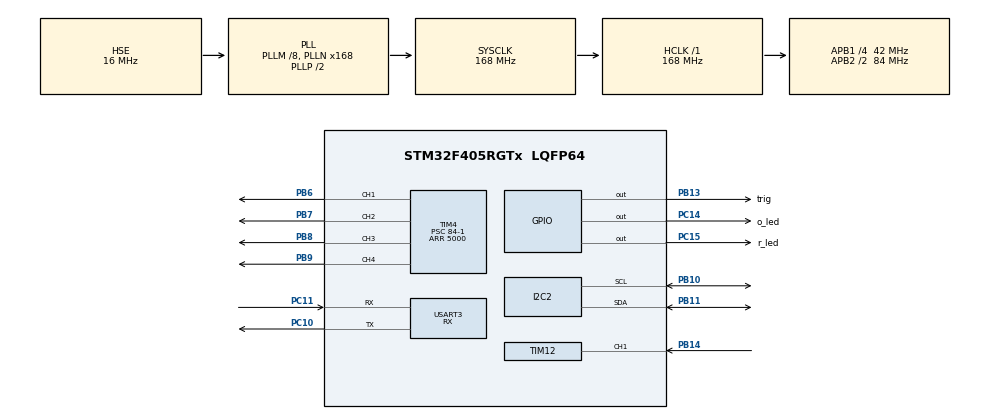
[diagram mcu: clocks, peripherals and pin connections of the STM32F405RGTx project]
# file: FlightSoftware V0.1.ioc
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Mcu.Family=STM32F4
PH0-OSC_IN.Signal=RCC_OSC_IN
Dma.USART3_RX.0.PeriphInc=DMA_PINC_DISABLE
RCC.CortexFreq_Value=168000000
PB10.Mode=I2C
TIM12.ICPolarity_CH1=TIM_INPUTCHANNELPOLARITY_BOTHEDGE
PC10.Signal=USART3_TX
PB13.GPIO_Label=trig
PB11.Signal=I2C2_SDA
PB13.Signal=GPIO_Output
PC15-OSC32_OUT.GPIO_Label=r_led
RCC.SYSCLKSource=RCC_SYSCLKSOURCE_PLLCLK
ProjectManager.StackSize=0x400
TIM1.Prescaler=168-1
RCC.HCLKFreq_Value=168000000
RCC.APB2TimFreq_Value=168000000
PB6.Signal=S_TIM4_CH1
RCC.AHBFreq_Value=168000000
PH0-OSC_IN.Mode=HSE-External-Oscillator
RCC.HSE_VALUE=16000000
TIM4.Channel-PWM\ Generation3\ CH3=TIM_CHANNEL_3
Dma.USART3_RX.0.MemDataAlignment=DMA_MDATAALIGN_BYTE
PB3.Mode=Trace_Asynchronous_SW
SH.S_TIM12_CH1.0=TIM12_CH1,Input_Capture1_from_TI1
PA14.Mode=Trace_Asynchronous_SW
Dma.USART3_RX.0.PeriphDataAlignment=DMA_PDATAALIGN_BYTE
SH.S_TIM4_CH2.0=TIM4_CH2,PWM Generation2 CH2
PB7.Signal=S_TIM4_CH2
Dma.USART3_RX.0.FIFOMode=DMA_FIFOMODE_DISABLE
VP_TIM12_VS_ClockSourceINT.Mode=Internal
TIM4.Period=5000
VP_TIM1_VS_ClockSourceINT.Mode=Internal
PH1-OSC_OUT.Mode=HSE-External-Oscillator
Dma.USART3_RX.0.Direction=DMA_PERIPH_TO_MEMORY
TIM2.Prescaler=84-1
PB9.Signal=S_TIM4_CH4
Mcu.Package=LQFP64
PC11.Mode=Asynchronous
Dma.USART3_RX.0.MemInc=DMA_MINC_ENABLE
RCC.APB2CLKDivider=RCC_HCLK_DIV2
SH.S_TIM4_CH1.0=TIM4_CH1,PWM Generation1 CH1
RCC.APB1TimFreq_Value=84000000
PC14-OSC32_IN.GPIO_Label=o_led
TIM4.Channel-PWM\ Generation4\ CH4=TIM_CHANNEL_4
Dma.Request0=USART3_RX
I2C2.I2C_Mode=I2C_Fast
Dma.USART3_RX.0.Instance=DMA1_Stream1
RCC.PLLSourceVirtual=RCC_PLLSOURCE_HSE
TIM4.Channel-PWM\ Generation1\ CH1=TIM_CHANNEL_1
SH.S_TIM4_CH4.0=TIM4_CH4,PWM Generation4 CH4
PC11.Signal=USART3_RX
PC10.Mode=Asynchronous
NVIC.DMA1_Stream1_IRQn=true\:0\:0\:false\:false\:true\:false\:true
RCC.APB1CLKDivider=RCC_HCLK_DIV4
PC14-OSC32_IN.Signal=GPIO_Output
Dma.USART3_RX.0.Mode=DMA_CIRCULAR
PA13.Signal=SYS_JTMS-SWDIO
PB11.Mode=I2C
ProjectManager.TargetToolchain=STM32CubeIDE
NVIC.TIM8_BRK_TIM12_IRQn=true\:0\:0\:false\:false\:true\:true\:true
SH.S_TIM4_CH3.0=TIM4_CH3,PWM Generation3 CH3
TIM4.Prescaler=84-1
RCC.LSE_VALUE=32768
PC15-OSC32_OUT.Signal=GPIO_Output
PB10.Signal=I2C2_SCL
TIM12.Prescaler=84-1
PB14.Signal=S_TIM12_CH1
board=custom
RCC.VCOOutputFreq_Value=336000000
TIM4.Channel-PWM\ Generation2\ CH2=TIM_CHANNEL_2
RCC.APB2Freq_Value=84000000
VP_TIM2_VS_ClockSourceINT.Mode=Internal
PH1-OSC_OUT.Signal=RCC_OSC_OUT
PA13.Mode=Trace_Asynchronous_SW
Mcu.Name=STM32F405RGTx
RCC.48MHZClocksFreq_Value=84000000
PB3.Signal=SYS_JTDO-SWO
RCC.SYSCLKFreq_VALUE=168000000
TIM12.Channel-Input_Capture1_from_TI1=TIM_CHANNEL_1
Dma.USART3_RX.0.Priority=DMA_PRIORITY_LOW
USART3.Mode=MODE_RX
USART3.VirtualMode=VM_ASYNC
PA14.Signal=SYS_JTCK-SWCLK
ProjectManager.HeapSize=0x200
RCC.HSI_VALUE=16000000
VP_TIM4_VS_ClockSourceINT.Mode=Internal
NVIC.PriorityGroup=NVIC_PRIORITYGROUP_4
RCC.PLLM=8
RCC.PLLN=168
PB8.Signal=S_TIM4_CH3
RCC.APB1Freq_Value=42000000

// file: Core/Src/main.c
/* USER CODE BEGIN Header */
/**
  ******************************************************************************
  * @file           : main.c
  * @brief          : Main program body
  ******************************************************************************
  * @attention
  *
  * <h2><center>&copy; Copyright (c) 2021 STMicroelectronics.
  * All rights reserved.</center></h2>
  *
  * This software component is licensed by ST under BSD 3-Clause license,
  * the "License"; You may not use this file except in compliance with the
  * License. You may obtain a copy of the License at:
  *                        opensource.org/licenses/BSD-3-Clause
  *
  ******************************************************************************
  */
/* USER CODE END Header */
#include "main.h"

/* USER CODE BEGIN Includes */
#include "math.h"

/* USER CODE END Includes */

I2C_HandleTypeDef hi2c2;

TIM_HandleTypeDef htim1;
TIM_HandleTypeDef htim2;
TIM_HandleTypeDef htim4;
TIM_HandleTypeDef htim12;

UART_HandleTypeDef huart3;
DMA_HandleTypeDef hdma_usart3_rx;

/* USER CODE BEGIN PV */
// RC Receiver Channels
// Array to store all Channels
int16_t channel[10];
// Channel[0] = Roll
// Channel[1] = Pitch
// Channel[2] = Throttle
// Channel[3] = Yaw
// Channel[4] = Arm Switch
// Channel[5] = Mode Switch

// PID Variables
float max_rotate = 200;
//X - Pitch | Y - Roll | Z - Yaw
// Roll
float pid_p_roll = 1;
float pid_i_roll = 0;
float pid_d_roll = 10;
float pid_gy_roll = 0, pid_setpoint_roll = 0, pid_output_roll = 0, pid_prev_err_roll = 0, pid_integ_roll = 0;
float roll_al = 0; // autolevel for roll
// Pitch
// uses same PID values as roll
float pid_gy_pitch = 0, pid_setpoint_pitch = 0, pid_output_pitch = 0, pid_prev_err_pitch = 0, pid_integ_pitch = 0;
float pitch_al = 0; // autolevel for pitch
// Yaw
float pid_p_yaw = 1;
float pid_i_yaw = 0.01;
float pid_d_yaw = 0;
float pid_gy_yaw = 0, pid_setpoint_yaw = 0, pid_output_yaw = 0, pid_prev_err_yaw = 0, pid_integ_yaw = 0;

uint16_t arm = 0;

uint16_t esc_1, esc_2, esc_3, esc_4;
uint16_t motor_idle = 1100;

// HC-SR04 Variables
uint16_t echo_edge_1 = 0;
uint16_t echo_edge_2 = 0;
float height = 0;
uint8_t capture_num = 0;
// speed of sound in cm / uS divided by 2 as we get round trip distance
const float time_to_dist = 0.0343/2;

enum flight_states{
	error,
	idle,
	arming,
	rate_mode,
	auto_level,
	altitude_hold
};

enum flight_states flight_state = idle;

// Flags
// Flag to show both edges of the HC-SR04 echo have been measured
uint8_t sr_rdy_flg = 0;
// Safety Flags
uint8_t fault_flag = 0;

/* USER CODE END PV */

void SystemClock_Config(void);
static void MX_GPIO_Init(void);
static void MX_DMA_Init(void);
static void MX_I2C2_Init(void);
static void MX_TIM1_Init(void);
static void MX_USART3_UART_Init(void);
static void MX_TIM4_Init(void);
static void MX_TIM12_Init(void);
static void MX_TIM2_Init(void);
/* USER CODE BEGIN PFP */
float ABS(float x);

HAL_StatusTypeDef ICM20689_Read(uint8_t address, float *acc_x, float *acc_y, float *acc_z, float *temp,
								float *gy_x, float *gy_y, float *gy_z, float gy_cal_x, float gy_cal_y,
								float gy_cal_z, float acc_cal_x, float acc_cal_y, float acc_cal_z);

HAL_StatusTypeDef ICM20689_Config(uint8_t address, float *gy_cal_x, float *gy_cal_y, float *gy_cal_z, float *acc_cal_x, float *acc_cal_y, float *acc_cal_z);

void Update_Motors();

void Calculate_PIDs();

void Calculate_SetPoints();

void HC_SR04_Read();

void uSec_Delay(uint32_t uSec);

void Check_Faults();
//void Calculate_Angles(float acc_x, float acc_y, float acc_z, float gy_x, float gy_y, float gy_z, float *roll, float *pitch, float *yaw)
//{
//	//Function variables
//	// gyroscope and accelerometer temporary angles
//
//	// initalisation counter
//	uint8_t count = 0;
//
//
//	if (count == 0){
//		count++;
//		gy_roll = 0, gy_pitch = 0, gy_yaw = 0;
//		acc_roll = 0, acc_pitch = 0, acc_yaw = 0;
//		pid_gy_roll = 0, pid_gy_pitch = 0, pid_gy_yaw = 0;
//	}
//
//
//
//
//	// transform pitch and roll depending on yaw value
//
//	//Calculate the traveled angles from the accelerometer
//
//	//Complementary filter on angles to correct gyroscope drift
//
//
//}
/* USER CODE END PFP */

int main(void)
{

  /* MCU Configuration--------------------------------------------------------*/

  /* Reset of all peripherals, Initializes the Flash interface and the Systick. */
  HAL_Init();

  /* Configure the system clock */
  SystemClock_Config();

  /* Initialize all configured peripherals */
  MX_GPIO_Init();
  MX_DMA_Init();
  MX_I2C2_Init();
  MX_TIM1_Init();
  MX_USART3_UART_Init();
  MX_TIM4_Init();
  MX_TIM12_Init();
  MX_TIM2_Init();
  /* USER CODE BEGIN 2 */

  // ICM20689 variables
	const uint8_t icm20689_address = 0x68;
	float acc_x, acc_y, acc_z;
	float temp;
	float gy_x, gy_y, gy_z;
	// Calibration variables
	float gy_cal_x = 0, gy_cal_y = 0, gy_cal_z = 0;
	float acc_cal_x = 0, acc_cal_y = 0, acc_cal_z = 0;
	// Angle Variables
	//X - Pitch | Y - Roll | Z - Yaw
	float pitch = 0, roll = 0, yaw = 0;
	float pitch_t = 0, roll_t = 0, yaw_t = 0;
	float gy_roll = 0, gy_pitch = 0, gy_yaw = 0;
	float acc_roll = 0, acc_pitch = 0, acc_yaw = 0;
	float acc_tot_vect = 0;

	// MS5611
	const uint8_t ms5611_address = 0x77;

	uint16_t looptimmer = 0;
	uint8_t error_counter = 0;
	uint8_t armed = 0;

	uint32_t loopcounter = 0;

	//UART DMA variables
	uint8_t rx_buff[32] = {0};

	// Start DMA UART RX
	HAL_StatusTypeDef uart_status;
	uart_status = HAL_UART_Receive_DMA(&huart3, rx_buff, 32);
	// Check for errors in starting the UART

  HAL_Delay(1000); // Wait for the icm20689 to initialise
  while(rx_buff[0] != 0x20){
	  HAL_GPIO_TogglePin(GPIOC, r_led_Pin);
	  HAL_Delay(500);
  }
  ICM20689_Config(icm20689_address, &gy_cal_x, &gy_cal_y, &gy_cal_z, &acc_cal_x, &acc_cal_y, &acc_cal_z); // configure ICM power register and calibrate the gyroscope

  HAL_TIM_PWM_Start(&htim4, TIM_CHANNEL_1);
  HAL_TIM_PWM_Start(&htim4, TIM_CHANNEL_2);
  HAL_TIM_PWM_Start(&htim4, TIM_CHANNEL_3);
  HAL_TIM_PWM_Start(&htim4, TIM_CHANNEL_4);

  // Reset both status lights
  HAL_GPIO_WritePin(GPIOC, o_led_Pin, RESET);
  HAL_GPIO_WritePin(GPIOC, r_led_Pin, RESET);

  /* USER CODE END 2 */

  /* Infinite loop */
  /* USER CODE BEGIN WHILE */
  // Loop timer setup
    TIM1->CR1 |= 1<<0;
    while (!(TIM1->SR & 1<<0));
    TIM1->CNT = 0;

  while (1)
  {
    /* USER CODE END WHILE */

    /* USER CODE BEGIN 3 */

	  // Increment loop counter
	  loopcounter ++;

	  ICM20689_Read(icm20689_address, &acc_x, &acc_y, &acc_z, &temp, &gy_x, &gy_y, &gy_z, gy_cal_x, gy_cal_y, gy_cal_z, acc_cal_x, acc_cal_y, acc_cal_z);

	  //Complementary filter applied to gyroscope values
	  pid_gy_roll = (pid_gy_roll*0.7) + (gy_y *0.3);
	  pid_gy_pitch = (pid_gy_pitch*0.7) + (gy_x *0.3);
	  pid_gy_yaw = (pid_gy_yaw*0.7) + (gy_z *0.3);

	  //Calculate the travelled angles from the gyroscope
	  //loop every 1 / 250hz = 0.004
      roll = roll + (gy_y / 250);
	  pitch = pitch + (gy_x / 250);
	  gy_yaw = gy_yaw + (gy_z / 250);

	  //need to rotate pitch and roll by the sin of yaw
	  roll += (pitch * (sin(gy_z * 0.00006981)));
	  pitch -= roll * (sin(gy_z * 0.00006981));

	  // Calculate acceleration vectors
	  acc_tot_vect = sqrt((acc_x*acc_x)+(acc_y*acc_y)+(acc_z*acc_z));
	  if (ABS(acc_y) < acc_tot_vect){
		  acc_pitch = asin(acc_y/acc_tot_vect) * 57.288;
	  }
	  if (ABS(acc_x) < acc_tot_vect){
	  		  acc_roll = asin(acc_x/acc_tot_vect) * -57.288; // negative to ensure left wing up is +roll
	  	  }

	  roll = (roll*0.9995) + (acc_roll*0.0005);
	  pitch = (pitch*0.99955) + (acc_pitch*0.0005);
	  yaw = gy_yaw;

	  roll_al = roll * 3;
	  pitch_al = pitch * 3;

	 // HC_SR04_Read();

	  Calculate_SetPoints();
	  Calculate_PIDs();

	  // function to read in values stored in the ESP32 UART DMA

	  //  Function to check fault flags
	  //Check_Faults();

	  // check to see if arm switch is disarmed
	  if (channel[4] < 1500 || channel[4] == 0){
		  flight_state = idle;
		  armed = 0;
	  }

	  // State machine for the drone switch case
	  switch (flight_state){
	  case(idle):
			// Ensure motors are not running
			TIM4->CCR1 = 0;
			TIM4->CCR2 = 0;
			TIM4->CCR3 = 0;
			TIM4->CCR4 = 0;
			// Wait for receiver connection
			if (rx_buff[0] == 0x20 & armed == 0 & (channel[4] > 1500) & (channel[2] < 1030)){
				flight_state = arming;
			}
			// need to check this is the right channel
			else if (channel[5] > 1600 & armed == 1 & channel[4] > 1500){
				 flight_state = rate_mode;
			 }
	  	  	// controller runs 250 times a second so mod 125 so the LED flashes every 500ms
	  	  	// blink Top orange LED
			if(loopcounter % 125 == 0){
				HAL_GPIO_TogglePin(GPIOC, o_led_Pin);
			}
		  break;

	  case(arming):
		  // send 1000us ESC pulses
		  if (armed == 0){
			  TIM4->CCR1 = 1000;
			  TIM4->CCR2 = 1000;
			  TIM4->CCR3 = 1000;
			  TIM4->CCR4 = 1000;
			  HAL_Delay(3000);
			  armed ++;
			  flight_state = idle;
	      }

		  break;

	  case(rate_mode):
		  Update_Motors();
		  break;

	  case(auto_level):
		  break;

	  case(altitude_hold):
		  break;

	  case(error):
		  // Alternately blink orange and red LED
		  if(loopcounter % 125 == 0){
			  HAL_GPIO_WritePin(GPIOC, o_led_Pin, RESET);
			  HAL_GPIO_WritePin(GPIOC, o_led_Pin, SET);
		  }
	      if(loopcounter % 75 == 0){
	    	  HAL_GPIO_WritePin(GPIOC, r_led_Pin, SET);
	    	  HAL_GPIO_WritePin(GPIOC, r_led_Pin, RESET);
	      }
		  // Ensure motors are not running
		  TIM4->CCR1 = 0;
		  TIM4->CCR2 = 0;
		  TIM4->CCR3 = 0;
		  TIM4->CCR4 = 0;

	      break;
	  }

	  // ensure the loop happens every 4ms
	  while(TIM1->CNT < 4000){
	  };
	  looptimmer = TIM1->CNT;
	  if (looptimmer > 4300){
		  error_counter ++;
		  if(error_counter > 3){
			  //flight_state = error;
		  }
	  }
	  TIM1->CNT = 0;

  }
  /* USER CODE END 3 */
}

void SystemClock_Config(void)
{
  RCC_OscInitTypeDef RCC_OscInitStruct = {0};
  RCC_ClkInitTypeDef RCC_ClkInitStruct = {0};

  /** Configure the main internal regulator output voltage
  */
  __HAL_RCC_PWR_CLK_ENABLE();
  __HAL_PWR_VOLTAGESCALING_CONFIG(PWR_REGULATOR_VOLTAGE_SCALE1);
  /** Initializes the RCC Oscillators according to the specified parameters
  * in the RCC_OscInitTypeDef structure.
  */
  RCC_OscInitStruct.OscillatorType = RCC_OSCILLATORTYPE_HSE;
  RCC_OscInitStruct.HSEState = RCC_HSE_ON;
  RCC_OscInitStruct.PLL.PLLState = RCC_PLL_ON;
  RCC_OscInitStruct.PLL.PLLSource = RCC_PLLSOURCE_HSE;
  RCC_OscInitStruct.PLL.PLLM = 8;
  RCC_OscInitStruct.PLL.PLLN = 168;
  RCC_OscInitStruct.PLL.PLLP = RCC_PLLP_DIV2;
  RCC_OscInitStruct.PLL.PLLQ = 4;
  if (HAL_RCC_OscConfig(&RCC_OscInitStruct) != HAL_OK)
  {
    Error_Handler();
  }
  /** Initializes the CPU, AHB and APB buses clocks
  */
  RCC_ClkInitStruct.ClockType = RCC_CLOCKTYPE_HCLK|RCC_CLOCKTYPE_SYSCLK
                              |RCC_CLOCKTYPE_PCLK1|RCC_CLOCKTYPE_PCLK2;
  RCC_ClkInitStruct.SYSCLKSource = RCC_SYSCLKSOURCE_PLLCLK;
  RCC_ClkInitStruct.AHBCLKDivider = RCC_SYSCLK_DIV1;
  RCC_ClkInitStruct.APB1CLKDivider = RCC_HCLK_DIV4;
  RCC_ClkInitStruct.APB2CLKDivider = RCC_HCLK_DIV2;

  if (HAL_RCC_ClockConfig(&RCC_ClkInitStruct, FLASH_LATENCY_5) != HAL_OK)
  {
    Error_Handler();
  }
}

static void MX_I2C2_Init(void)
{

  hi2c2.Instance = I2C2;
  hi2c2.Init.ClockSpeed = 400000;
  hi2c2.Init.DutyCycle = I2C_DUTYCYCLE_2;
  hi2c2.Init.OwnAddress1 = 0;
  hi2c2.Init.AddressingMode = I2C_ADDRESSINGMODE_7BIT;
  hi2c2.Init.DualAddressMode = I2C_DUALADDRESS_DISABLE;
  hi2c2.Init.OwnAddress2 = 0;
  hi2c2.Init.GeneralCallMode = I2C_GENERALCALL_DISABLE;
  hi2c2.Init.NoStretchMode = I2C_NOSTRETCH_DISABLE;
  if (HAL_I2C_Init(&hi2c2) != HAL_OK)
  {
    Error_Handler();
  }

}

static void MX_TIM1_Init(void)
{

  TIM_ClockConfigTypeDef sClockSourceConfig = {0};
  TIM_MasterConfigTypeDef sMasterConfig = {0};

  htim1.Instance = TIM1;
  htim1.Init.Prescaler = 168-1;
  htim1.Init.CounterMode = TIM_COUNTERMODE_UP;
  htim1.Init.Period = 65535;
  htim1.Init.ClockDivision = TIM_CLOCKDIVISION_DIV1;
  htim1.Init.RepetitionCounter = 0;
  htim1.Init.AutoReloadPreload = TIM_AUTORELOAD_PRELOAD_DISABLE;
  if (HAL_TIM_Base_Init(&htim1) != HAL_OK)
  {
    Error_Handler();
  }
  sClockSourceConfig.ClockSource = TIM_CLOCKSOURCE_INTERNAL;
  if (HAL_TIM_ConfigClockSource(&htim1, &sClockSourceConfig) != HAL_OK)
  {
    Error_Handler();
  }
  sMasterConfig.MasterOutputTrigger = TIM_TRGO_RESET;
  sMasterConfig.MasterSlaveMode = TIM_MASTERSLAVEMODE_DISABLE;
  if (HAL_TIMEx_MasterConfigSynchronization(&htim1, &sMasterConfig) != HAL_OK)
  {
    Error_Handler();
  }

}

static void MX_TIM2_Init(void)
{

  TIM_ClockConfigTypeDef sClockSourceConfig = {0};
  TIM_MasterConfigTypeDef sMasterConfig = {0};

  htim2.Instance = TIM2;
  htim2.Init.Prescaler = 84-1;
  htim2.Init.CounterMode = TIM_COUNTERMODE_UP;
  htim2.Init.Period = 4294967295;
  htim2.Init.ClockDivision = TIM_CLOCKDIVISION_DIV1;
  htim2.Init.AutoReloadPreload = TIM_AUTORELOAD_PRELOAD_DISABLE;
  if (HAL_TIM_Base_Init(&htim2) != HAL_OK)
  {
    Error_Handler();
  }
  sClockSourceConfig.ClockSource = TIM_CLOCKSOURCE_INTERNAL;
  if (HAL_TIM_ConfigClockSource(&htim2, &sClockSourceConfig) != HAL_OK)
  {
    Error_Handler();
  }
  sMasterConfig.MasterOutputTrigger = TIM_TRGO_RESET;
  sMasterConfig.MasterSlaveMode = TIM_MASTERSLAVEMODE_DISABLE;
  if (HAL_TIMEx_MasterConfigSynchronization(&htim2, &sMasterConfig) != HAL_OK)
  {
    Error_Handler();
  }

}

static void MX_TIM4_Init(void)
{

  TIM_ClockConfigTypeDef sClockSourceConfig = {0};
  TIM_MasterConfigTypeDef sMasterConfig = {0};
  TIM_OC_InitTypeDef sConfigOC = {0};

  htim4.Instance = TIM4;
  htim4.Init.Prescaler = 84-1;
  htim4.Init.CounterMode = TIM_COUNTERMODE_UP;
  htim4.Init.Period = 5000;
  htim4.Init.ClockDivision = TIM_CLOCKDIVISION_DIV1;
  htim4.Init.AutoReloadPreload = TIM_AUTORELOAD_PRELOAD_DISABLE;
  if (HAL_TIM_Base_Init(&htim4) != HAL_OK)
  {
    Error_Handler();
  }
  sClockSourceConfig.ClockSource = TIM_CLOCKSOURCE_INTERNAL;
  if (HAL_TIM_ConfigClockSource(&htim4, &sClockSourceConfig) != HAL_OK)
  {
    Error_Handler();
  }
  if (HAL_TIM_PWM_Init(&htim4) != HAL_OK)
  {
    Error_Handler();
  }
  sMasterConfig.MasterOutputTrigger = TIM_TRGO_RESET;
  sMasterConfig.MasterSlaveMode = TIM_MASTERSLAVEMODE_DISABLE;
  if (HAL_TIMEx_MasterConfigSynchronization(&htim4, &sMasterConfig) != HAL_OK)
  {
    Error_Handler();
  }
  sConfigOC.OCMode = TIM_OCMODE_PWM1;
  sConfigOC.Pulse = 0;
  sConfigOC.OCPolarity = TIM_OCPOLARITY_HIGH;
  sConfigOC.OCFastMode = TIM_OCFAST_DISABLE;
  if (HAL_TIM_PWM_ConfigChannel(&htim4, &sConfigOC, TIM_CHANNEL_1) != HAL_OK)
  {
    Error_Handler();
  }
  if (HAL_TIM_PWM_ConfigChannel(&htim4, &sConfigOC, TIM_CHANNEL_2) != HAL_OK)
  {
    Error_Handler();
  }
  if (HAL_TIM_PWM_ConfigChannel(&htim4, &sConfigOC, TIM_CHANNEL_3) != HAL_OK)
  {
    Error_Handler();
  }
  if (HAL_TIM_PWM_ConfigChannel(&htim4, &sConfigOC, TIM_CHANNEL_4) != HAL_OK)
  {
    Error_Handler();
  }
  HAL_TIM_MspPostInit(&htim4);

}

static void MX_TIM12_Init(void)
{

  TIM_ClockConfigTypeDef sClockSourceConfig = {0};
  TIM_IC_InitTypeDef sConfigIC = {0};

  htim12.Instance = TIM12;
  htim12.Init.Prescaler = 84-1;
  htim12.Init.CounterMode = TIM_COUNTERMODE_UP;
  htim12.Init.Period = 65535;
  htim12.Init.ClockDivision = TIM_CLOCKDIVISION_DIV1;
  htim12.Init.AutoReloadPreload = TIM_AUTORELOAD_PRELOAD_DISABLE;
  if (HAL_TIM_Base_Init(&htim12) != HAL_OK)
  {
    Error_Handler();
  }
  sClockSourceConfig.ClockSource = TIM_CLOCKSOURCE_INTERNAL;
  if (HAL_TIM_ConfigClockSource(&htim12, &sClockSourceConfig) != HAL_OK)
  {
    Error_Handler();
  }
  if (HAL_TIM_IC_Init(&htim12) != HAL_OK)
  {
    Error_Handler();
  }
  sConfigIC.ICPolarity = TIM_INPUTCHANNELPOLARITY_BOTHEDGE;
  sConfigIC.ICSelection = TIM_ICSELECTION_DIRECTTI;
  sConfigIC.ICPrescaler = TIM_ICPSC_DIV1;
  sConfigIC.ICFilter = 0;
  if (HAL_TIM_IC_ConfigChannel(&htim12, &sConfigIC, TIM_CHANNEL_1) != HAL_OK)
  {
    Error_Handler();
  }

}

static void MX_USART3_UART_Init(void)
{

  huart3.Instance = USART3;
  huart3.Init.BaudRate = 115200;
  huart3.Init.WordLength = UART_WORDLENGTH_8B;
  huart3.Init.StopBits = UART_STOPBITS_1;
  huart3.Init.Parity = UART_PARITY_NONE;
  huart3.Init.Mode = UART_MODE_RX;
  huart3.Init.HwFlowCtl = UART_HWCONTROL_NONE;
  huart3.Init.OverSampling = UART_OVERSAMPLING_16;
  if (HAL_UART_Init(&huart3) != HAL_OK)
  {
    Error_Handler();
  }

}

static void MX_DMA_Init(void)
{

  /* DMA controller clock enable */
  __HAL_RCC_DMA1_CLK_ENABLE();

  /* DMA interrupt init */
  /* DMA1_Stream1_IRQn interrupt configuration */
  HAL_NVIC_SetPriority(DMA1_Stream1_IRQn, 0, 0);
  HAL_NVIC_EnableIRQ(DMA1_Stream1_IRQn);

}

static void MX_GPIO_Init(void)
{
  GPIO_InitTypeDef GPIO_InitStruct = {0};

  /* GPIO Ports Clock Enable */
  __HAL_RCC_GPIOC_CLK_ENABLE();
  __HAL_RCC_GPIOH_CLK_ENABLE();
  __HAL_RCC_GPIOB_CLK_ENABLE();
  __HAL_RCC_GPIOA_CLK_ENABLE();

  /*Configure GPIO pin Output Level */
  HAL_GPIO_WritePin(GPIOC, o_led_Pin|r_led_Pin, GPIO_PIN_RESET);

  /*Configure GPIO pin Output Level */
  HAL_GPIO_WritePin(trig_GPIO_Port, trig_Pin, GPIO_PIN_RESET);

  /*Configure GPIO pins : o_led_Pin r_led_Pin */
  GPIO_InitStruct.Pin = o_led_Pin|r_led_Pin;
  GPIO_InitStruct.Mode = GPIO_MODE_OUTPUT_PP;
  GPIO_InitStruct.Pull = GPIO_NOPULL;
  GPIO_InitStruct.Speed = GPIO_SPEED_FREQ_LOW;
  HAL_GPIO_Init(GPIOC, &GPIO_InitStruct);

  /*Configure GPIO pin : trig_Pin */
  GPIO_InitStruct.Pin = trig_Pin;
  GPIO_InitStruct.Mode = GPIO_MODE_OUTPUT_PP;
  GPIO_InitStruct.Pull = GPIO_NOPULL;
  GPIO_InitStruct.Speed = GPIO_SPEED_FREQ_LOW;
  HAL_GPIO_Init(trig_GPIO_Port, &GPIO_InitStruct);

}

/* USER CODE BEGIN 4 */

float ABS(float x){
	if(x > 0){
		return x;
	}
	else{
		return (-x);
	}

}

HAL_StatusTypeDef ICM20689_Read(uint8_t address, float *acc_x, float *acc_y, float *acc_z, float *temp,
		float *gy_x, float *gy_y, float *gy_z, float gy_cal_x, float gy_cal_y, float gy_cal_z, float acc_cal_x, float acc_cal_y, float acc_cal_z)
{
	HAL_StatusTypeDef ret;
	// Bytes to store the incoming accelerometer data
	uint8_t acc_data[6];
	int16_t acc_s_data[3];

	// Bytes to store the incoming temperature data
	uint8_t temp_data[2];
	int16_t temp_s_data;

	// Bytes to store the incoming gyroscope data
	uint8_t gy_data[6];
	int16_t gy_s_data[3];

	// Reading Accelerometers registers
	ret = HAL_I2C_Mem_Read(&hi2c2, (uint16_t)(address<<1)| 0x01, 0x3B , 1, acc_data, 6, 50);
	if(ret != HAL_OK)
	{
		return ret;
	}

	ret = HAL_I2C_Mem_Read(&hi2c2, (uint16_t)(address<<1)| 0x01, 0x41 , 1, temp_data, 2, 50);
	if(ret != HAL_OK)
	{
		return ret;
	}

	ret = HAL_I2C_Mem_Read(&hi2c2, (uint16_t)(address<<1)| 0x01, 0x43 , 1, gy_data, 6, 50);
	if(ret != HAL_OK)
	{
		return ret;
	}

	// Shift and combine the 2 accelerometer registers per axis and store them in a signed 16 int
	acc_s_data[0] = (acc_data[0]<<8 | acc_data[1]);
	acc_s_data[1] = (acc_data[2]<<8 | acc_data[3]);
	acc_s_data[2] = (acc_data[4]<<8 | acc_data[5]);

	// Normalise the accelerations by the sensitivity/g
	*acc_x =  (acc_s_data[0] / 4096.0) - acc_cal_x;
	*acc_y = (acc_s_data[1] / 4096.0) - acc_cal_y;
	*acc_z = (acc_s_data[2] / 4096.0) - acc_cal_z ;

	// Shift and combine the 2 temperature registers and store them in a signed 16 int
	temp_s_data = (temp_data[0]<<8 | temp_data[1]);

	// Normalise the temperature values
	*temp = ((temp_s_data - 0)/326.8) + 25;

	// Shift and combine the 2 gyroscope registers per axis and store them in a signed 16 int
	gy_s_data[0] = (gy_data[0]<<8 | gy_data[1]);
	gy_s_data[1] = (gy_data[2]<<8 | gy_data[3]);
	gy_s_data[2] = (gy_data[4]<<8 | gy_data[5]);

	// Normalise the gyroscope by the sensitivity/g
	*gy_x =  ((gy_s_data[0] /32.8 ) - gy_cal_x);
	*gy_y = ((gy_s_data[1] / 32.8 ) - gy_cal_y);
	*gy_z = ((gy_s_data[2] / 32.8 ) + gy_cal_z) * -1; // Invert Z axis / yaw to match convention (Nose right = positive yaw)

	return HAL_OK;
}

HAL_StatusTypeDef ICM20689_Config(uint8_t address, float *gy_cal_x, float *gy_cal_y, float *gy_cal_z, float *acc_cal_x, float *acc_cal_y, float *acc_cal_z)
{
	HAL_StatusTypeDef ret;
	uint8_t config_pwr = 0x81;
	uint8_t config_pwr1 = 0x00;
	uint8_t whoami;
	uint8_t config = 0x10; // configure gyroscope and accelerometer to full scale
	uint8_t config_lowpass = 0x03;
	uint8_t rst = 0x01;
	uint16_t i; //calibration counter

	// temporary ICM20689 variables
	float t_acc_x, t_acc_y, t_acc_z;
	float t_temp;
	float t_gy_x, t_gy_y, t_gy_z;

	// gyroscope errors
	float gy_er_x = 0, gy_er_y = 0, gy_er_z = 0;

	// accelerometer errors
	float acc_er_x = 0, acc_er_y = 0, acc_er_z = 0;

	// Soft Reset
	ret = HAL_I2C_Mem_Write(&hi2c2, (uint16_t)(address<<1), 0x6B, 1, &config_pwr, 1, 50);
	if(ret != HAL_OK){
		return ret;
	}
	HAL_Delay(100);

	// Wake up
	ret = HAL_I2C_Mem_Write(&hi2c2, (uint16_t)(address<<1), 0x6B, 1, &config_pwr1, 1, 50);
	if(ret != HAL_OK){
		return ret;
	}
	HAL_Delay(100);

	// Check to see if icm20689 is responding correctly
	ret = HAL_I2C_Mem_Read(&hi2c2, (uint16_t)(address<<1)|  0x01 , 0x75, 1, &whoami, 1, 50);
	if(ret != HAL_OK){
		return ret;
	}
	if(whoami == 0x98){
		HAL_GPIO_TogglePin(GPIOC, r_led_Pin);
		HAL_Delay(500);
		HAL_GPIO_TogglePin(GPIOC, r_led_Pin);
	}

	// Configure the accelerometer
	ret = HAL_I2C_Mem_Write(&hi2c2, (uint16_t)(address<<1), 0x1C, 1, &config, 1, 50);
	if(ret != HAL_OK){
		return ret;
	}

	// Configure the accelerometer Filter
	ret = HAL_I2C_Mem_Write(&hi2c2, (uint16_t)(address<<1), 0x1D, 1, &config_lowpass, 1, 50);
			if(ret != HAL_OK){
				return ret;
				}

	// Configure the gyroscope
	ret = HAL_I2C_Mem_Write(&hi2c2, (uint16_t)(address<<1), 0x1B, 1, &config, 1, 50);
		if(ret != HAL_OK){
			return ret;
		}

	// Configure the gyroscope Filter
	ret = HAL_I2C_Mem_Write(&hi2c2, (uint16_t)(address<<1), 0x1A, 1, &config_lowpass, 1, 50);
	if(ret != HAL_OK){
		return ret;
		}

	// Reset gyroscope and accelerometer registers
	ret = HAL_I2C_Mem_Write(&hi2c2, (uint16_t)(address<<1), 0x6A, 1, &rst, 1, 50);
	if(ret != HAL_OK){
		return ret;
		}

	for (i=0; i < 2000; i++)
	{
		ICM20689_Read(address, &t_acc_x, &t_acc_y, &t_acc_z, &t_temp, &t_gy_x, &t_gy_y, &t_gy_z, 0, 0, 0, 0, 0, 0);
		gy_er_x += t_gy_x;
		gy_er_y += t_gy_y;
		gy_er_z += t_gy_z;
		acc_er_x += t_acc_x;
		acc_er_y += t_acc_y;
		acc_er_z += t_acc_z;
		HAL_Delay(4);
		if (i % 125 == 0){
			HAL_GPIO_TogglePin(GPIOC, o_led_Pin);
		}
	}
	// store average calibration;
	*gy_cal_x = gy_er_x / 2000;
	*gy_cal_y = gy_er_y / 2000;
	*gy_cal_z = gy_er_z / 2000;
	*acc_cal_x = acc_er_x / 2000;
	*acc_cal_y = acc_er_y / 2000;
	*acc_cal_z = (acc_er_z - 2000) / 2000;

	return HAL_OK;

}

void Update_Motors(){
	// Variable to store throttle value
	uint16_t throttle = channel[2];

	if (throttle > 1800){throttle = 1800;} //limit max throttle to allow for some room for the PIDs to still correct.

	// ESC1 | CCR1 | Front Right | CW
	// ESC2 | CCR2 | Rear Right  | CCW
	// ESC3 | CCR3 | Front Left  | CCW
	// ESC4 | CCR4 | Rear Left   | CW
	// Channel[2] = Throttle

	// test difference between ESC variables being floats and ints

	esc_1 = throttle - pid_output_pitch + pid_output_roll + pid_output_yaw;
	esc_2 = throttle + pid_output_pitch + pid_output_roll - pid_output_yaw;
	esc_3 = throttle - pid_output_pitch - pid_output_roll - pid_output_yaw;
	esc_4 = throttle + pid_output_pitch - pid_output_roll + pid_output_yaw;

	if (esc_1 > 2000){esc_1 = 2000;}
	//if (esc_1 < motor_idle){esc_1 = motor_idle;}

	if (esc_2 > 2000){esc_2 = 2000;}
	//if (esc_2 < motor_idle){esc_2 = motor_idle;}

	if (esc_3 > 2000){esc_3 = 2000;}
	//if (esc_3 < motor_idle){esc_3 = motor_idle;}

	if (esc_4 > 2000){esc_4 = 2000;}
	//if (esc_4 < motor_idle){esc_4 = motor_idle;}

	TIM4->CCR1 = esc_1;
	TIM4->CCR2 = esc_2;
	TIM4->CCR3 = esc_3;
	TIM4->CCR4 = esc_4;

}

void Calculate_PIDs(){

	//Roll - Y - Channel[0]
	float temp_err = 0;
	temp_err = pid_gy_roll - pid_setpoint_roll;
	pid_integ_roll += pid_i_roll * temp_err;
	if (pid_integ_roll > max_rotate){pid_integ_roll = max_rotate;}
	if (pid_integ_roll < (max_rotate*-1)){pid_integ_roll = (max_rotate*-1);}

	pid_output_roll = (pid_p_roll * temp_err) + (pid_integ_roll) + (pid_d_roll * (temp_err - pid_prev_err_roll));
	if (pid_output_roll > max_rotate){pid_output_roll = max_rotate;}
	if (pid_output_roll < (max_rotate*-1)){pid_output_roll = (max_rotate*-1);}

	pid_prev_err_roll = temp_err;

	//Pitch - X - Channel[1]
	temp_err = 0;
	temp_err = pid_gy_pitch - pid_setpoint_pitch;
	pid_integ_pitch += pid_i_roll * temp_err;
	if (pid_integ_pitch > max_rotate){pid_integ_pitch = max_rotate;}
	if (pid_integ_pitch < (max_rotate*-1)){pid_integ_pitch = (max_rotate*-1);}

	pid_output_pitch = (pid_p_roll * temp_err) + (pid_integ_pitch) + (pid_d_roll * (temp_err - pid_prev_err_pitch));
	if (pid_output_pitch > max_rotate){pid_output_pitch = max_rotate;}
	if (pid_output_pitch < (max_rotate*-1)){pid_output_pitch = (max_rotate*-1);}

	pid_prev_err_pitch = temp_err;

	//Yaw - Z - Channel[3]
	temp_err = 0;
	temp_err = pid_gy_yaw - pid_setpoint_yaw;
	pid_integ_yaw += pid_i_yaw * temp_err;
	if (pid_integ_yaw > max_rotate){pid_integ_yaw = max_rotate;}
	if (pid_integ_yaw < (max_rotate*-1)){pid_integ_yaw = (max_rotate*-1);}

	pid_output_yaw = (pid_p_yaw * temp_err) + (pid_integ_yaw) + (pid_d_yaw * (temp_err - pid_prev_err_yaw));
	if (pid_output_yaw > max_rotate){pid_output_yaw = max_rotate;}
	if (pid_output_yaw < (max_rotate*-1)){pid_output_yaw = (max_rotate*-1);}

	pid_prev_err_yaw = temp_err;
}

void Calculate_SetPoints(){

	//Roll - Y - Channel[0]
	if (channel[0] != 0){
		pid_setpoint_roll = 0;
		if (channel[0] > 1505){pid_setpoint_roll = (channel[0] - 1505)/3;} 	// max 495
		if (channel[0] < 1495){pid_setpoint_roll = (channel[0] - 1495)/3;} 	// max -495
		pid_setpoint_roll -= (roll_al);										// Max angular rate of 247
	}
	else {
		pid_setpoint_roll = 0;
	}

	//Pitch - X - Channel[1]
	if (channel[1] != 0){
		pid_setpoint_pitch = 0;
		if (channel[1] > 1505){pid_setpoint_pitch = (1505 - channel[1])/3;} // max 495
		if (channel[1] < 1495){pid_setpoint_pitch = (1495 - channel[1])/3;} // max -495
		pid_setpoint_pitch += pitch_al;									// Max angular rate of 247
	}
	else{
		pid_setpoint_pitch = 0;
	}
	//Yaw - Z - Channel[3]
	if (channel[3] != 0){
		if (channel[3] > 1505){pid_setpoint_yaw = (channel[3] - 1505)/3;} // max 495
		if (channel[3] < 1495){pid_setpoint_yaw = (channel[3] - 1495)/3;} // max -495
		// Max angular rate of 247
	}
	else{
		pid_setpoint_yaw = 0;
	}
}

void HC_SR04_Read(){

	// Reset the trigger pin and wait 3 micro seconds
	HAL_GPIO_WritePin(trig_GPIO_Port, trig_Pin, GPIO_PIN_RESET);
	uSec_Delay(3);

	// Take the trigger pin high for 10 micro seconds
	HAL_GPIO_WritePin(trig_GPIO_Port, trig_Pin, GPIO_PIN_SET);
	uSec_Delay(10);
	HAL_GPIO_WritePin(trig_GPIO_Port, trig_Pin, GPIO_PIN_RESET);

	// Start the echo input capture
	HAL_TIM_IC_Start_IT(&htim12, TIM_CHANNEL_1);

	//wait for the echo to be measured
	if (sr_rdy_flg == 1){
		//Reset Flag
		sr_rdy_flg = 0;
		// stop the input capture
		HAL_TIM_IC_Stop_IT(&htim12, TIM_CHANNEL_1);

		// Read in the echo pulse width
		if (echo_edge_2 > echo_edge_1){
			height = (float)(echo_edge_2 - echo_edge_1) * time_to_dist;
		}
		else{
			height = 0;
			fault_flag = 1;
		}

	}
}

void uSec_Delay(uint32_t uSec){
	if (uSec < 2){uSec = 2;}
	//Setup the timer
	TIM2->ARR = uSec - 1;
	TIM2->EGR = 1;
	TIM2->SR &= ~1;
	TIM2->CR1 |= 1;
	while((TIM2->SR & 0x0001) != 1);
	TIM2->SR &= ~(0x0001);
}

void Check_Faults(){

}

void HAL_TIM_IC_CaptureCalllback(TIM_HandleTypeDef *htim){
	if (capture_num == 0){
		echo_edge_1 = HAL_TIM_ReadCapturedValue(htim, TIM_CHANNEL_1);
		capture_num = 1;
	}
	else if (capture_num == 1){
		echo_edge_2 = HAL_TIM_ReadCapturedValue(htim, TIM_CHANNEL_1);
		capture_num = 0;
		sr_rdy_flg = 1;
	}
}

void HAL_UART_RxCpltCallback(UART_HandleTypeDef *huart3){
	uint8_t *ptr = huart3->pRxBuffPtr;
	uint8_t *ptrl;
	if (*ptr == 0x20){
		ptr += 2;
		ptrl = ptr+1;
		for (int8_t i  = 0; i < 10; i++){
			channel[i] = (*(ptrl+(i*2)) << 8) | *(ptr+(i*2));
		}

	}
}

/* USER CODE END 4 */

void Error_Handler(void)
{
  __disable_irq();
  while (1)
  {
  }
}

/************************ (C) COPYRIGHT STMicroelectronics *****END OF FILE****/
